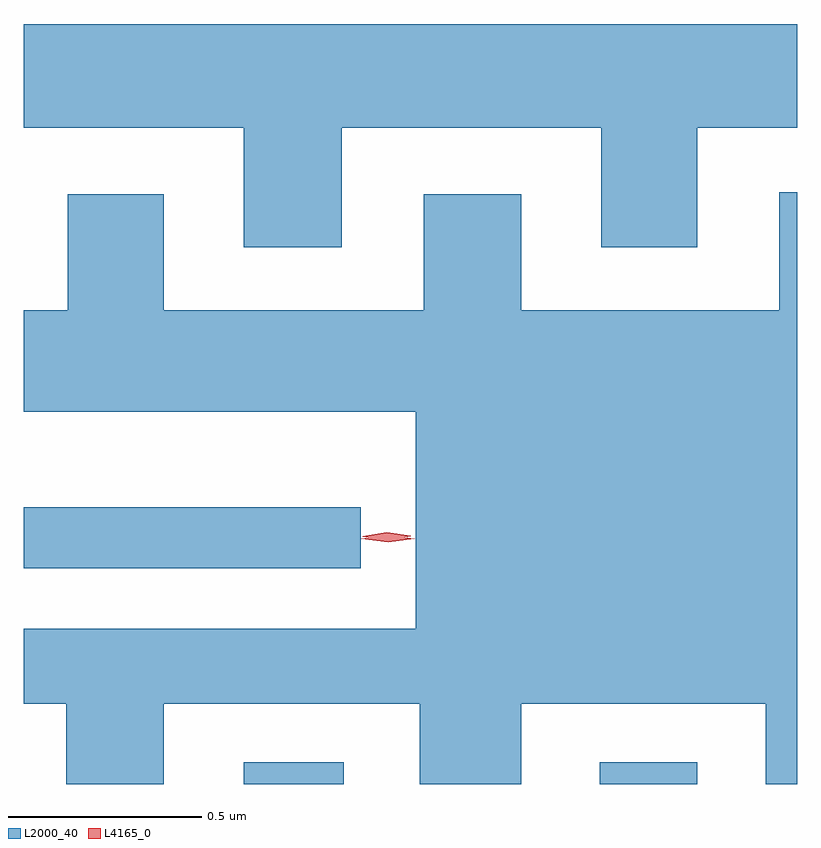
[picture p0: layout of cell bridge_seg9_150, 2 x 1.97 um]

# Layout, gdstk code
import gdstk
lib = gdstk.Library(unit=1e-6, precision=1e-09)
def R(c, l, rs):  # rectangles x0, y0, x1, y1
    for r in rs: c.add(gdstk.rectangle(r[:2], r[2:], *l))
def P(c, l, *ps):  # polygons
    for p in ps: c.add(gdstk.Polygon(p, *l))
L2000_40 = (2000, 40)
L4165_0 = (4165, 0)

bridge_seg9_150 = lib.new_cell('bridge_seg9_150')
R(bridge_seg9_150, L2000_40, [(1443.106,2063.378,1443.364,2063.434), (1444.026,2063.378,1444.279,2063.434), (1442.537,2063.936,1443.408,2064.094)])
P(bridge_seg9_150, L2000_40, [(1442.537,2065.076),(1443.106,2065.076),(1443.106,2064.766),(1443.359,2064.766),(1443.359,2065.076),(1444.031,2065.076),(1444.031,2064.766),(1444.279,2064.766),(1444.279,2065.076),(1444.537,2065.076),(1444.537,2065.344),(1442.537,2065.344)],
  [(1442.899,2063.586),(1443.561,2063.586),(1443.561,2063.378),(1443.824,2063.378),(1443.824,2063.586),(1444.456,2063.586),(1444.456,2063.378),(1444.537,2063.378),(1444.537,2064.909),(1444.491,2064.909),(1444.491,2064.604),(1443.824,2064.604),(1443.824,2064.904),(1443.571,2064.904),(1443.571,2064.604),(1442.899,2064.604),(1442.899,2064.904),(1442.651,2064.904),(1442.651,2064.604),(1442.537,2064.604),(1442.537,2064.341),(1443.551,2064.341),(1443.551,2063.779),(1442.537,2063.779),(1442.537,2063.586),(1442.646,2063.586),(1442.646,2063.378),(1442.899,2063.378)])
P(bridge_seg9_150, L4165_0, [(1443.479,2064.003),(1443.41,2064.012),(1443.409,2064.013),(1443.41,2064.013),(1443.479,2064.023),(1443.547,2064.013),(1443.548,2064.013),(1443.547,2064.012)],
  [(1443.475,2064.009),(1443.414,2064.018),(1443.413,2064.019),(1443.414,2064.019),(1443.475,2064.029),(1443.538,2064.02),(1443.538,2064.019),(1443.538,2064.019)])

lib.write_gds('bridge_seg9_150.gds')
